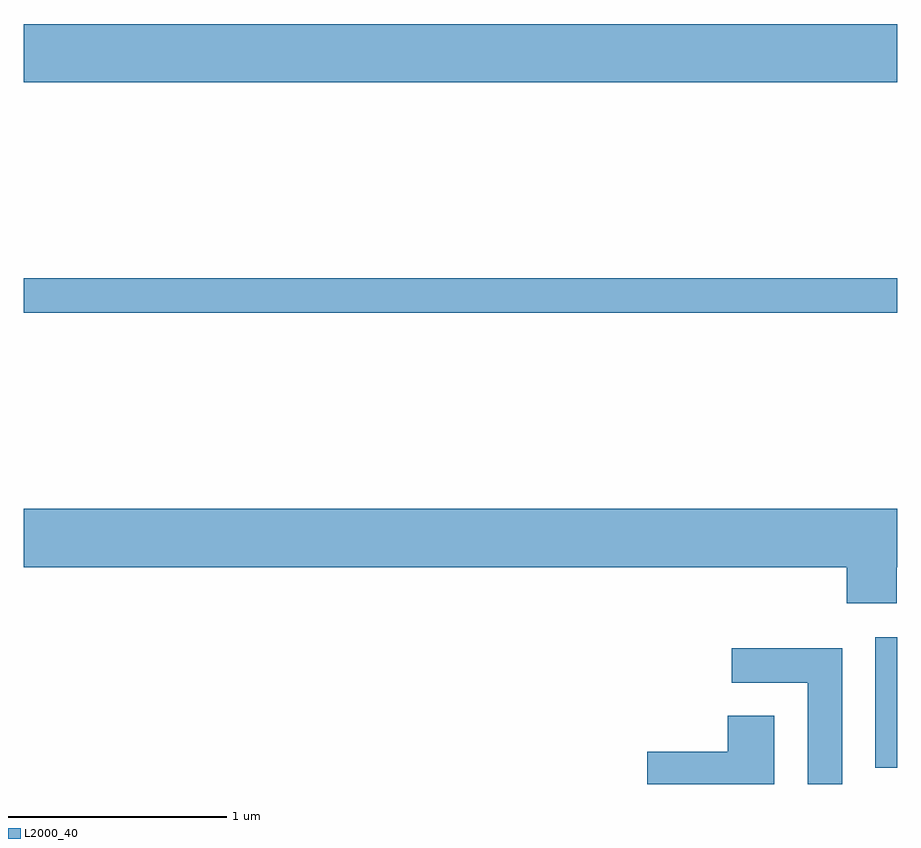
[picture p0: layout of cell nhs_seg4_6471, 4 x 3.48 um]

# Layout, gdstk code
import gdstk
lib = gdstk.Library(unit=1e-6, precision=1e-09)
def R(c, l, rs):  # rectangles x0, y0, x1, y1
    for r in rs: c.add(gdstk.rectangle(r[:2], r[2:], *l))
def P(c, l, *ps):  # polygons
    for p in ps: c.add(gdstk.Polygon(p, *l))
L2000_40 = (2000, 40)

nhs_seg4_6471 = lib.new_cell('nhs_seg4_6471')
R(nhs_seg4_6471, L2000_40, [(379.511,1276.056,379.611,1276.654), (375.611,1278.141,379.611,1278.299), (375.611,1279.196,379.611,1279.464)])
P(nhs_seg4_6471, L2000_40, [(379.609,1276.976),(379.611,1276.976),(379.611,1277.244),(375.611,1277.244),(375.611,1276.976),(379.381,1276.976),(379.381,1276.811),(379.609,1276.811)],
  [(379.359,1276.604),(378.853,1276.604),(378.853,1276.446),(379.201,1276.446),(379.201,1275.982),(379.359,1275.982)],
  [(379.049,1276.294),(378.836,1276.294),(378.836,1276.129),(378.466,1276.129),(378.466,1275.982),(379.049,1275.982)])

lib.write_gds('nhs_seg4_6471.gds')
